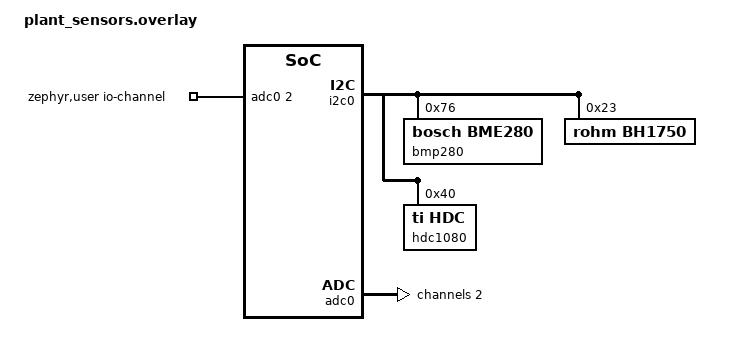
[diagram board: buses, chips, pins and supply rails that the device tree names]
/*
 * Plant monitor sensor set (SM-07..SM-10).
 *
 * The shield holds the I2C0 pin move, the three I2C sensors and the soil
 * moisture ADC channel. App-specific devicetree (the LM393 wake source on
 * GPIO6) stays in apps/main/app.overlay (SM-06).
 */

#include <zephyr/dt-bindings/adc/adc.h>
#include <zephyr/dt-bindings/i2c/i2c.h>

&pinctrl {
	/*
	 * Move I2C0 to SDA = GPIO4, SCL = GPIO5. The upstream board default is
	 * SDA = GPIO6, SCL = GPIO7. This move frees GPIO6, which
	 * apps/main/app.overlay configures as the LM393 deep-sleep wake source.
	 */
	plant_i2c0_default: plant_i2c0_default {
		group1 {
			pinmux = <I2C0_SDA_GPIO4>,
				 <I2C0_SCL_GPIO5>;
			bias-pull-up;
			drive-open-drain;
			output-high;
		};
	};
};

&i2c0 {
	status = "okay";
	/* Own pinctrl state, so the board default (GPIO6/7) is never applied.
	 * The bus clock stays at the board default. */
	pinctrl-0 = <&plant_i2c0_default>;
	pinctrl-names = "default";

	/* BMP280. There is no bosch,bmp280 binding; the BME280 driver detects
	 * the BMP280 by chip ID. The address is 0x76 (SDO low) or 0x77 (SDO
	 * high): confirm it against the module's SDO strap. */
	bmp280: bmp280@76 {
		compatible = "bosch,bme280";
		reg = <0x76>;
	};

	/* BH1750FVI, ADDR pin low. */
	bh1750: bh1750@23 {
		compatible = "rohm,bh1750";
		reg = <0x23>;
	};

	/* HDC1080, fixed address. No drdy-gpios: the chip has no DRDY pin and
	 * the driver falls back to a fixed conversion delay. */
	hdc1080: hdc1080@40 {
		compatible = "ti,hdc";
		reg = <0x40>;
	};
};

&adc0 {
	status = "okay";
	#address-cells = <1>;
	#size-cells = <0>;

	/* Soil moisture probe on GPIO2 = ADC1_CH2. */
	channel@2 {
		reg = <2>;
		zephyr,gain = "ADC_GAIN_1_4";
		zephyr,reference = "ADC_REF_INTERNAL";
		zephyr,acquisition-time = <ADC_ACQ_TIME_DEFAULT>;
		zephyr,resolution = <12>;
	};
};

/ {
	zephyr,user {
		io-channels = <&adc0 2>;
	};
};
